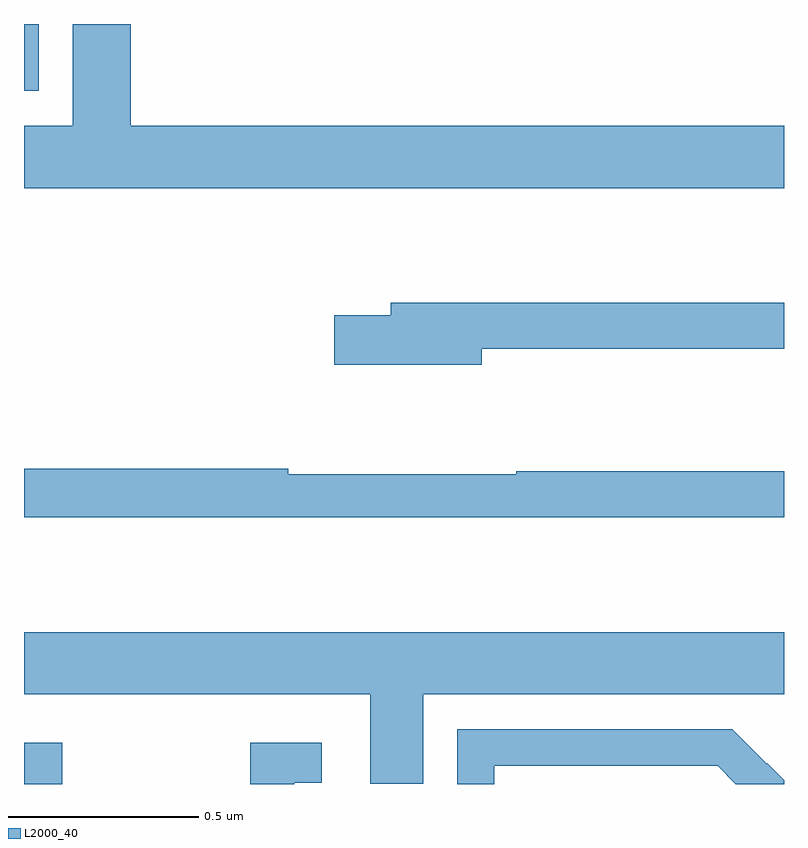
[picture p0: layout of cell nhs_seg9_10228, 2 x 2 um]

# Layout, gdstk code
import gdstk
lib = gdstk.Library(unit=1e-6, precision=1e-09)
def R(c, l, rs):  # rectangles x0, y0, x1, y1
    for r in rs: c.add(gdstk.rectangle(r[:2], r[2:], *l))
def P(c, l, *ps):  # polygons
    for p in ps: c.add(gdstk.Polygon(p, *l))
L2000_40 = (2000, 40)

nhs_seg9_10228 = lib.new_cell('nhs_seg9_10228')
R(nhs_seg9_10228, L2000_40, [(240,1213.5,240.101,1213.609), (240,1215.324,240.039,1215.5)])
P(nhs_seg9_10228, L2000_40, [(242,1215.232),(240.281,1215.232),(240.281,1215.5),(240.128,1215.5),(240.128,1215.232),(240,1215.232),(240,1215.068),(242,1215.068)],
  [(241.204,1214.646),(242,1214.646),(242,1214.767),(240.965,1214.767),(240.965,1214.733),(240.816,1214.733),(240.816,1214.603),(241.204,1214.603)],
  [(242,1214.323),(241.295,1214.323),(241.295,1214.315),(240.695,1214.315),(240.695,1214.33),(240,1214.33),(240,1214.202),(242,1214.202)],
  [(241.051,1213.736),(242,1213.736),(242,1213.9),(240,1213.9),(240,1213.736),(240.911,1213.736),(240.911,1213.501),(241.051,1213.501)],
  [(241.237,1213.548),(241.825,1213.548),(241.873,1213.5),(242,1213.5),(242,1213.51),(241.956,1213.554),(241.955,1213.553),(241.864,1213.644),(241.14,1213.644),(241.14,1213.5),(241.237,1213.5)],
  [(240.711,1213.503),(240.784,1213.503),(240.784,1213.609),(240.595,1213.609),(240.595,1213.5),(240.711,1213.5)])

lib.write_gds('nhs_seg9_10228.gds')
